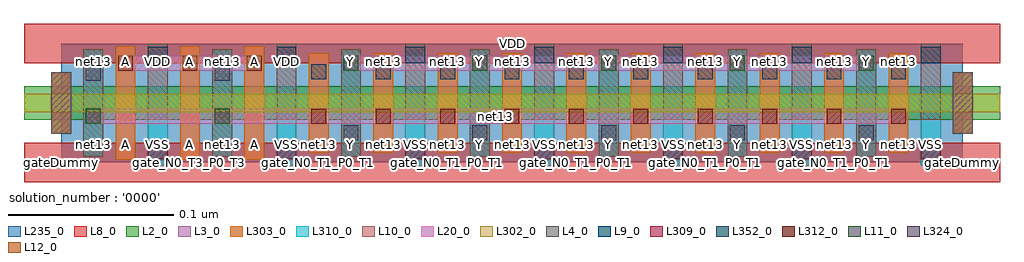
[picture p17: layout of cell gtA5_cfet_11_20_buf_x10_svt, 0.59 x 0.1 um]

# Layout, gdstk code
import gdstk
lib = gdstk.Library(unit=1e-6, precision=2.5e-10)
def R(c, l, rs):  # rectangles x0, y0, x1, y1
    for r in rs: c.add(gdstk.rectangle(r[:2], r[2:], *l))
def A(c, l, x, y, w, h, nx, ny, dx, dy):  # array of equal rectangles
    R(c, l, [(x+i*dx, y+j*dy, x+i*dx+w, y+j*dy+h) for i in range(nx) for j in range(ny)])
L2_0 = (2, 0)
L3_0 = (3, 0)
L4_0 = (4, 0)
L8_0 = (8, 0)
L9_0 = (9, 0)
L10_0 = (10, 0)
L11_0 = (11, 0)
L12_0 = (12, 0)
L20_0 = (20, 0)
L235_0 = (235, 0)
L302_0 = (302, 0)
L303_0 = (303, 0)
L309_0 = (309, 0)
L310_0 = (310, 0)
L312_0 = (312, 0)
L324_0 = (324, 0)
L352_0 = (352, 0)

gta5_cfet_11_20_buf_x10_ = lib.new_cell('gtA5_cfet_11_20_buf_x10_svt')
R(gta5_cfet_11_20_buf_x10_, L2_0, [(-0.0225,0.026,0.5685,0.046)])
A(gta5_cfet_11_20_buf_x10_, L3_0, 0.033, 0.0015, 0.012, 0.069, 3, 1, 0.039, 0)
A(gta5_cfet_11_20_buf_x10_, L3_0, 0.15, 0.006, 0.012, 0.06, 10, 1, 0.039, 0)
R(gta5_cfet_11_20_buf_x10_, L3_0, [(-0.006,0.0175,0.006,0.0545), (0.54,0.0175,0.552,0.0545)])
R(gta5_cfet_11_20_buf_x10_, L4_0, [(-0.006,0.0175,0.006,0.0545), (0.54,0.0175,0.552,0.0545)])
R(gta5_cfet_11_20_buf_x10_, L8_0, [(-0.0225,-0.012,0.5685,0.012), (-0.0225,0.06,0.5685,0.084)])
A(gta5_cfet_11_20_buf_x10_, L9_0, 0.0525, 0.06, 0.012, 0.01, 7, 1, 0.078, 0)
A(gta5_cfet_11_20_buf_x10_, L10_0, 0.0135, 0.0035, 0.012, 0.065, 7, 1, 0.078, 0)
A(gta5_cfet_11_20_buf_x10_, L10_0, 0.0525, 0.026, 0.012, 0.046, 7, 1, 0.078, 0)
A(gta5_cfet_11_20_buf_x10_, L11_0, 0.171, 0.0555, 0.009, 0.009, 5, 1, 0.078, 0)
R(gta5_cfet_11_20_buf_x10_, L11_0, [(0.015,0.0235,0.024,0.0325), (0.093,0.0235,0.102,0.0325)])
A(gta5_cfet_11_20_buf_x10_, L12_0, 0.0345, 0.0555, 0.009, 0.009, 3, 1, 0.039, 0)
R(gta5_cfet_11_20_buf_x10_, L20_0, [(0.015,0.0235,0.5115,0.0325), (0.0345,0.0555,0.1215,0.0645), (0.171,0.0555,0.492,0.0645)])
R(gta5_cfet_11_20_buf_x10_, L235_0, [(0,0,0.546,0.072)])
R(gta5_cfet_11_20_buf_x10_, L302_0, [(-0.0225,0.0305,0.5685,0.0415)])
A(gta5_cfet_11_20_buf_x10_, L303_0, 0.033, 0.0015, 0.012, 0.069, 3, 1, 0.039, 0)
A(gta5_cfet_11_20_buf_x10_, L303_0, 0.15, 0.006, 0.012, 0.06, 10, 1, 0.039, 0)
R(gta5_cfet_11_20_buf_x10_, L303_0, [(-0.006,0.0175,0.006,0.0545), (0.54,0.0175,0.552,0.0545)])
A(gta5_cfet_11_20_buf_x10_, L309_0, 0.0525, 0.002, 0.012, 0.01, 7, 1, 0.078, 0)
A(gta5_cfet_11_20_buf_x10_, L310_0, 0.0525, -0.002, 0.012, 0.048, 7, 1, 0.078, 0)
A(gta5_cfet_11_20_buf_x10_, L310_0, 0.0135, 0.0035, 0.012, 0.065, 7, 1, 0.078, 0)
A(gta5_cfet_11_20_buf_x10_, L312_0, 0.1515, 0.0235, 0.009, 0.009, 10, 1, 0.039, 0)
A(gta5_cfet_11_20_buf_x10_, L324_0, 0.171, 0.0135, 0.009, 0.009, 5, 1, 0.078, 0)
R(gta5_cfet_11_20_buf_x10_, L324_0, [(0.015,0.0495,0.024,0.0585), (0.093,0.0495,0.102,0.0585)])
A(gta5_cfet_11_20_buf_x10_, L352_0, 0.1515, 0.0505, 0.009, 0.009, 10, 1, 0.039, 0)
gta5_cfet_11_20_buf_x10_.add(gdstk.Label('net13', (0.2632,0.028), layer=100, texttype=100))
gta5_cfet_11_20_buf_x10_.add(gdstk.Label('gateDummy', (0,0), layer=103, texttype=103))
gta5_cfet_11_20_buf_x10_.add(gdstk.Label('sd_N0_T1_P0_T1', (0.0195,0), layer=103, texttype=103))
gta5_cfet_11_20_buf_x10_.add(gdstk.Label('gate_N0_T3_P0_T3', (0.039,0), layer=103, texttype=103))
gta5_cfet_11_20_buf_x10_.add(gdstk.Label('sd_N0_VSS_P0_VDD', (0.0585,0), layer=103, texttype=103))
gta5_cfet_11_20_buf_x10_.add(gdstk.Label('gate_N0_T3_P0_T3', (0.078,0), layer=103, texttype=103))
gta5_cfet_11_20_buf_x10_.add(gdstk.Label('sd_N0_T1_P0_T1', (0.0975,0), layer=103, texttype=103))
gta5_cfet_11_20_buf_x10_.add(gdstk.Label('gate_N0_T3_P0_T3', (0.117,0), layer=103, texttype=103))
gta5_cfet_11_20_buf_x10_.add(gdstk.Label('sd_N0_VSS_P0_VDD', (0.1365,0), layer=103, texttype=103))
gta5_cfet_11_20_buf_x10_.add(gdstk.Label('gate_N0_T1_P0_T1', (0.156,0), layer=103, texttype=103))
gta5_cfet_11_20_buf_x10_.add(gdstk.Label('sd_N0_T3_P0_T3', (0.1755,0), layer=103, texttype=103))
gta5_cfet_11_20_buf_x10_.add(gdstk.Label('gate_N0_T1_P0_T1', (0.195,0), layer=103, texttype=103))
gta5_cfet_11_20_buf_x10_.add(gdstk.Label('sd_N0_VSS_P0_VDD', (0.2145,0), layer=103, texttype=103))
gta5_cfet_11_20_buf_x10_.add(gdstk.Label('gate_N0_T1_P0_T1', (0.234,0), layer=103, texttype=103))
gta5_cfet_11_20_buf_x10_.add(gdstk.Label('sd_N0_T3_P0_T3', (0.2535,0), layer=103, texttype=103))
gta5_cfet_11_20_buf_x10_.add(gdstk.Label('gate_N0_T1_P0_T1', (0.273,0), layer=103, texttype=103))
gta5_cfet_11_20_buf_x10_.add(gdstk.Label('sd_N0_VSS_P0_VDD', (0.2925,0), layer=103, texttype=103))
gta5_cfet_11_20_buf_x10_.add(gdstk.Label('gate_N0_T1_P0_T1', (0.312,0), layer=103, texttype=103))
gta5_cfet_11_20_buf_x10_.add(gdstk.Label('sd_N0_T3_P0_T3', (0.3315,0), layer=103, texttype=103))
gta5_cfet_11_20_buf_x10_.add(gdstk.Label('gate_N0_T1_P0_T1', (0.351,0), layer=103, texttype=103))
gta5_cfet_11_20_buf_x10_.add(gdstk.Label('sd_N0_VSS_P0_VDD', (0.3705,0), layer=103, texttype=103))
gta5_cfet_11_20_buf_x10_.add(gdstk.Label('gate_N0_T1_P0_T1', (0.39,0), layer=103, texttype=103))
gta5_cfet_11_20_buf_x10_.add(gdstk.Label('sd_N0_T3_P0_T3', (0.4095,0), layer=103, texttype=103))
gta5_cfet_11_20_buf_x10_.add(gdstk.Label('gate_N0_T1_P0_T1', (0.429,0), layer=103, texttype=103))
gta5_cfet_11_20_buf_x10_.add(gdstk.Label('sd_N0_VSS_P0_VDD', (0.4485,0), layer=103, texttype=103))
gta5_cfet_11_20_buf_x10_.add(gdstk.Label('gate_N0_T1_P0_T1', (0.468,0), layer=103, texttype=103))
gta5_cfet_11_20_buf_x10_.add(gdstk.Label('sd_N0_T3_P0_T3', (0.4875,0), layer=103, texttype=103))
gta5_cfet_11_20_buf_x10_.add(gdstk.Label('gate_N0_T1_P0_T1', (0.507,0), layer=103, texttype=103))
gta5_cfet_11_20_buf_x10_.add(gdstk.Label('sd_N0_VSS_P0_VDD', (0.5265,0), layer=103, texttype=103))
gta5_cfet_11_20_buf_x10_.add(gdstk.Label('gateDummy', (0.546,0), layer=103, texttype=103))
gta5_cfet_11_20_buf_x10_.add(gdstk.Label('}', (0,-0.0785), layer=104, texttype=104))
gta5_cfet_11_20_buf_x10_.add(gdstk.Label('  power : None', (0,-0.0713), layer=104, texttype=104))
gta5_cfet_11_20_buf_x10_.add(gdstk.Label('  performance : None', (0,-0.0643), layer=104, texttype=104))
gta5_cfet_11_20_buf_x10_.add(gdstk.Label("  solution_hash : '18189620526249314403'", (0,-0.057), layer=104, texttype=104))
gta5_cfet_11_20_buf_x10_.add(gdstk.Label('  number_m2 : 0', (0,-0.05), layer=104, texttype=104))
gta5_cfet_11_20_buf_x10_.add(gdstk.Label('  number_m1 : 0', (0,-0.0428), layer=104, texttype=104))
gta5_cfet_11_20_buf_x10_.add(gdstk.Label('  number_m0cuts : 0', (0,-0.0358), layer=104, texttype=104))
gta5_cfet_11_20_buf_x10_.add(gdstk.Label('  number_m0 : 3', (0,-0.0285), layer=104, texttype=104))
gta5_cfet_11_20_buf_x10_.add(gdstk.Label("  solution_number : '0000'", (0,-0.0215), layer=104, texttype=104))
gta5_cfet_11_20_buf_x10_.add(gdstk.Label("  placement_id : '18136004234890178570'", (0,-0.0143), layer=104, texttype=104))
gta5_cfet_11_20_buf_x10_.add(gdstk.Label('{', (0,-0.0073), layer=104, texttype=104))
gta5_cfet_11_20_buf_x10_.add(gdstk.Label('net13', (0.0195,0.0108), layer=105, texttype=105))
gta5_cfet_11_20_buf_x10_.add(gdstk.Label('A', (0.039,0.0108), layer=105, texttype=105))
gta5_cfet_11_20_buf_x10_.add(gdstk.Label('VSS', (0.0585,0.0108), layer=105, texttype=105))
gta5_cfet_11_20_buf_x10_.add(gdstk.Label('A', (0.078,0.0108), layer=105, texttype=105))
gta5_cfet_11_20_buf_x10_.add(gdstk.Label('net13', (0.0975,0.0108), layer=105, texttype=105))
gta5_cfet_11_20_buf_x10_.add(gdstk.Label('A', (0.117,0.0108), layer=105, texttype=105))
gta5_cfet_11_20_buf_x10_.add(gdstk.Label('VSS', (0.1365,0.0108), layer=105, texttype=105))
gta5_cfet_11_20_buf_x10_.add(gdstk.Label('net13', (0.156,0.0108), layer=105, texttype=105))
gta5_cfet_11_20_buf_x10_.add(gdstk.Label('Y', (0.1755,0.0108), layer=105, texttype=105))
gta5_cfet_11_20_buf_x10_.add(gdstk.Label('net13', (0.195,0.0108), layer=105, texttype=105))
gta5_cfet_11_20_buf_x10_.add(gdstk.Label('VSS', (0.2145,0.0108), layer=105, texttype=105))
gta5_cfet_11_20_buf_x10_.add(gdstk.Label('net13', (0.234,0.0108), layer=105, texttype=105))
gta5_cfet_11_20_buf_x10_.add(gdstk.Label('Y', (0.2535,0.0108), layer=105, texttype=105))
gta5_cfet_11_20_buf_x10_.add(gdstk.Label('net13', (0.273,0.0108), layer=105, texttype=105))
gta5_cfet_11_20_buf_x10_.add(gdstk.Label('VSS', (0.2925,0.0108), layer=105, texttype=105))
gta5_cfet_11_20_buf_x10_.add(gdstk.Label('net13', (0.312,0.0108), layer=105, texttype=105))
gta5_cfet_11_20_buf_x10_.add(gdstk.Label('Y', (0.3315,0.0108), layer=105, texttype=105))
gta5_cfet_11_20_buf_x10_.add(gdstk.Label('net13', (0.351,0.0108), layer=105, texttype=105))
gta5_cfet_11_20_buf_x10_.add(gdstk.Label('VSS', (0.3705,0.0108), layer=105, texttype=105))
gta5_cfet_11_20_buf_x10_.add(gdstk.Label('net13', (0.39,0.0108), layer=105, texttype=105))
gta5_cfet_11_20_buf_x10_.add(gdstk.Label('Y', (0.4095,0.0108), layer=105, texttype=105))
gta5_cfet_11_20_buf_x10_.add(gdstk.Label('net13', (0.429,0.0108), layer=105, texttype=105))
gta5_cfet_11_20_buf_x10_.add(gdstk.Label('VSS', (0.4485,0.0108), layer=105, texttype=105))
gta5_cfet_11_20_buf_x10_.add(gdstk.Label('net13', (0.468,0.0108), layer=105, texttype=105))
gta5_cfet_11_20_buf_x10_.add(gdstk.Label('Y', (0.4875,0.0108), layer=105, texttype=105))
gta5_cfet_11_20_buf_x10_.add(gdstk.Label('net13', (0.507,0.0108), layer=105, texttype=105))
gta5_cfet_11_20_buf_x10_.add(gdstk.Label('VSS', (0.5265,0.0108), layer=105, texttype=105))
gta5_cfet_11_20_buf_x10_.add(gdstk.Label('net13', (0.0195,0.0612), layer=105, texttype=105))
gta5_cfet_11_20_buf_x10_.add(gdstk.Label('A', (0.039,0.0612), layer=105, texttype=105))
gta5_cfet_11_20_buf_x10_.add(gdstk.Label('VDD', (0.0585,0.0612), layer=105, texttype=105))
gta5_cfet_11_20_buf_x10_.add(gdstk.Label('A', (0.078,0.0612), layer=105, texttype=105))
gta5_cfet_11_20_buf_x10_.add(gdstk.Label('net13', (0.0975,0.0612), layer=105, texttype=105))
gta5_cfet_11_20_buf_x10_.add(gdstk.Label('A', (0.117,0.0612), layer=105, texttype=105))
gta5_cfet_11_20_buf_x10_.add(gdstk.Label('VDD', (0.1365,0.0612), layer=105, texttype=105))
gta5_cfet_11_20_buf_x10_.add(gdstk.Label('net13', (0.156,0.0612), layer=105, texttype=105))
gta5_cfet_11_20_buf_x10_.add(gdstk.Label('Y', (0.1755,0.0612), layer=105, texttype=105))
gta5_cfet_11_20_buf_x10_.add(gdstk.Label('net13', (0.195,0.0612), layer=105, texttype=105))
gta5_cfet_11_20_buf_x10_.add(gdstk.Label('VDD', (0.2145,0.0612), layer=105, texttype=105))
gta5_cfet_11_20_buf_x10_.add(gdstk.Label('net13', (0.234,0.0612), layer=105, texttype=105))
gta5_cfet_11_20_buf_x10_.add(gdstk.Label('Y', (0.2535,0.0612), layer=105, texttype=105))
gta5_cfet_11_20_buf_x10_.add(gdstk.Label('net13', (0.273,0.0612), layer=105, texttype=105))
gta5_cfet_11_20_buf_x10_.add(gdstk.Label('VDD', (0.2925,0.0612), layer=105, texttype=105))
gta5_cfet_11_20_buf_x10_.add(gdstk.Label('net13', (0.312,0.0612), layer=105, texttype=105))
gta5_cfet_11_20_buf_x10_.add(gdstk.Label('Y', (0.3315,0.0612), layer=105, texttype=105))
gta5_cfet_11_20_buf_x10_.add(gdstk.Label('net13', (0.351,0.0612), layer=105, texttype=105))
gta5_cfet_11_20_buf_x10_.add(gdstk.Label('VDD', (0.3705,0.0612), layer=105, texttype=105))
gta5_cfet_11_20_buf_x10_.add(gdstk.Label('net13', (0.39,0.0612), layer=105, texttype=105))
gta5_cfet_11_20_buf_x10_.add(gdstk.Label('Y', (0.4095,0.0612), layer=105, texttype=105))
gta5_cfet_11_20_buf_x10_.add(gdstk.Label('net13', (0.429,0.0612), layer=105, texttype=105))
gta5_cfet_11_20_buf_x10_.add(gdstk.Label('VDD', (0.4485,0.0612), layer=105, texttype=105))
gta5_cfet_11_20_buf_x10_.add(gdstk.Label('net13', (0.468,0.0612), layer=105, texttype=105))
gta5_cfet_11_20_buf_x10_.add(gdstk.Label('Y', (0.4875,0.0612), layer=105, texttype=105))
gta5_cfet_11_20_buf_x10_.add(gdstk.Label('net13', (0.507,0.0612), layer=105, texttype=105))
gta5_cfet_11_20_buf_x10_.add(gdstk.Label('VDD', (0.5265,0.0612), layer=105, texttype=105))
gta5_cfet_11_20_buf_x10_.add(gdstk.Label('VSS', (0.273,0), layer=8, texttype=0))
gta5_cfet_11_20_buf_x10_.add(gdstk.Label('VDD', (0.273,0.072), layer=8, texttype=0))
gta5_cfet_11_20_buf_x10_.add(gdstk.Label('A', (0.078,0.06), layer=20, texttype=251))
gta5_cfet_11_20_buf_x10_.add(gdstk.Label('Y', (0.3315,0.06), layer=20, texttype=251))
gta5_cfet_11_20_buf_x10_.add(gdstk.Label('gtA5_cfet_11_20_buf_x10_rvt_0', (0,0), layer=235, texttype=0))

lib.write_gds('gtA5_cfet_11_20_buf_x10_svt.gds')
